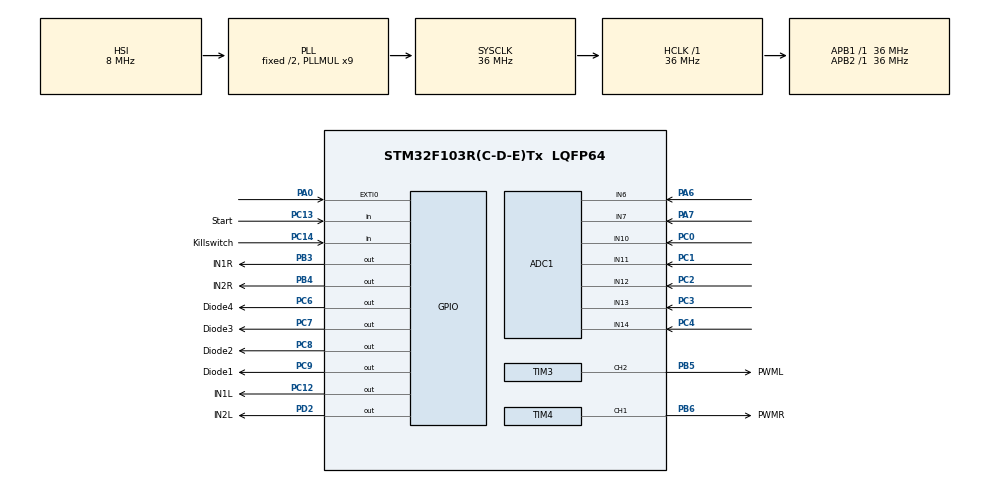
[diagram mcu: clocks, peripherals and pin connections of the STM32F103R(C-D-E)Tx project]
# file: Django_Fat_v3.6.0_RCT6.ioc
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ADC1.Channel-38\#ChannelRegularConversion=ADC_CHANNEL_14
ADC1.Channel-39\#ChannelRegularConversion=ADC_CHANNEL_10
ADC1.Channel-40\#ChannelRegularConversion=ADC_CHANNEL_11
ADC1.Channel-41\#ChannelRegularConversion=ADC_CHANNEL_12
ADC1.Channel-42\#ChannelRegularConversion=ADC_CHANNEL_13
ADC1.Channel-43\#ChannelRegularConversion=ADC_CHANNEL_6
ADC1.Channel-44\#ChannelRegularConversion=ADC_CHANNEL_7
ADC1.ContinuousConvMode=ENABLE
ADC1.NbrOfConversion=7
ADC1.NbrOfConversionFlag=1
ADC1.Rank-38\#ChannelRegularConversion=1
ADC1.Rank-39\#ChannelRegularConversion=2
ADC1.Rank-40\#ChannelRegularConversion=3
ADC1.Rank-41\#ChannelRegularConversion=4
ADC1.Rank-42\#ChannelRegularConversion=5
ADC1.Rank-43\#ChannelRegularConversion=6
ADC1.Rank-44\#ChannelRegularConversion=7
ADC1.SamplingTime-38\#ChannelRegularConversion=ADC_SAMPLETIME_1CYCLE_5
ADC1.SamplingTime-39\#ChannelRegularConversion=ADC_SAMPLETIME_1CYCLE_5
ADC1.SamplingTime-40\#ChannelRegularConversion=ADC_SAMPLETIME_1CYCLE_5
ADC1.SamplingTime-41\#ChannelRegularConversion=ADC_SAMPLETIME_1CYCLE_5
ADC1.SamplingTime-42\#ChannelRegularConversion=ADC_SAMPLETIME_1CYCLE_5
ADC1.SamplingTime-43\#ChannelRegularConversion=ADC_SAMPLETIME_1CYCLE_5
ADC1.SamplingTime-44\#ChannelRegularConversion=ADC_SAMPLETIME_1CYCLE_5
ADC1.master=1
Dma.ADC1.2.Direction=DMA_PERIPH_TO_MEMORY
Dma.ADC1.2.Instance=DMA1_Channel1
Dma.ADC1.2.MemDataAlignment=DMA_MDATAALIGN_WORD
Dma.ADC1.2.MemInc=DMA_MINC_ENABLE
Dma.ADC1.2.Mode=DMA_CIRCULAR
Dma.ADC1.2.PeriphDataAlignment=DMA_PDATAALIGN_HALFWORD
Dma.ADC1.2.PeriphInc=DMA_PINC_DISABLE
Dma.ADC1.2.Priority=DMA_PRIORITY_LOW
Dma.Request0=TIM3_CH4/UP
Dma.Request1=TIM4_UP
Dma.Request2=ADC1
Dma.TIM3_CH4/UP.0.Direction=DMA_PERIPH_TO_MEMORY
Dma.TIM3_CH4/UP.0.Instance=DMA1_Channel3
Dma.TIM3_CH4/UP.0.MemDataAlignment=DMA_MDATAALIGN_HALFWORD
Dma.TIM3_CH4/UP.0.MemInc=DMA_MINC_ENABLE
Dma.TIM3_CH4/UP.0.Mode=DMA_NORMAL
Dma.TIM3_CH4/UP.0.PeriphDataAlignment=DMA_PDATAALIGN_HALFWORD
Dma.TIM3_CH4/UP.0.PeriphInc=DMA_PINC_DISABLE
Dma.TIM3_CH4/UP.0.Priority=DMA_PRIORITY_LOW
Dma.TIM4_UP.1.Direction=DMA_PERIPH_TO_MEMORY
Dma.TIM4_UP.1.Instance=DMA1_Channel7
Dma.TIM4_UP.1.MemDataAlignment=DMA_MDATAALIGN_HALFWORD
Dma.TIM4_UP.1.MemInc=DMA_MINC_ENABLE
Dma.TIM4_UP.1.Mode=DMA_NORMAL
Dma.TIM4_UP.1.PeriphDataAlignment=DMA_PDATAALIGN_HALFWORD
Dma.TIM4_UP.1.PeriphInc=DMA_PINC_DISABLE
Dma.TIM4_UP.1.Priority=DMA_PRIORITY_LOW
Mcu.Family=STM32F1
Mcu.Name=STM32F103R(C-D-E)Tx
Mcu.Package=LQFP64
NVIC.ADC1_2_IRQn=true\:0\:0\:false
NVIC.DMA1_Channel1_IRQn=true\:0\:0\:false
NVIC.DMA1_Channel3_IRQn=true\:0\:0\:false
NVIC.DMA1_Channel7_IRQn=true\:0\:0\:false
NVIC.EXTI0_IRQn=true\:0\:0\:false
NVIC.PriorityGroup=NVIC_PRIORITYGROUP_4
NVIC.TIM1_BRK_IRQn=true\:0\:0\:false
NVIC.TIM1_CC_IRQn=true\:0\:0\:false
NVIC.TIM1_TRG_COM_IRQn=true\:0\:0\:false
NVIC.TIM1_UP_IRQn=true\:0\:0\:false
PA0-WKUP.Signal=GPXTI0
PA13.Mode=Serial_Wire
PA13.Signal=SYS_JTMS-SWDIO
PA14.Mode=Serial_Wire
PA14.Signal=SYS_JTCK-SWCLK
PA6.Signal=ADCx_IN6
PA7.Signal=ADCx_IN7
PB3.GPIO_Label=IN1R
PB3.Signal=GPIO_Output
PB4.GPIO_Label=IN2R
PB4.Signal=GPIO_Output
PB5.GPIO_Label=PWML
PB5.GPIO_ModeDefaultPP=GPIO_MODE_AF_PP
PB5.Signal=S_TIM3_CH2
PB6.GPIO_Label=PWMR
PB6.Signal=S_TIM4_CH1
PC0.Signal=ADCx_IN10
PC1.Signal=ADCx_IN11
PC12.GPIO_Label=IN1L
PC12.Signal=GPIO_Output
PC13-TAMPER-RTC.GPIO_Label=Start
PC13-TAMPER-RTC.Signal=GPIO_Input
PC14-OSC32_IN.GPIO_Label=Killswitch
PC14-OSC32_IN.Signal=GPIO_Input
PC2.Signal=ADCx_IN12
PC3.Signal=ADCx_IN13
PC4.Signal=ADCx_IN14
PC6.GPIO_Label=Diode4
PC6.Signal=GPIO_Output
PC7.GPIO_Label=Diode3
PC7.Signal=GPIO_Output
PC8.GPIO_Label=Diode2
PC8.Signal=GPIO_Output
PC9.GPIO_Label=Diode1
PC9.Signal=GPIO_Output
PD2.GPIO_Label=IN2L
PD2.Signal=GPIO_Output
ProjectManager.TargetToolchain=SW4STM32
RCC.ADCPresc=RCC_ADCPCLK2_DIV4
RCC.AHBFreq_Value=36000000
RCC.APB1Freq_Value=36000000
RCC.APB1TimFreq_Value=36000000
RCC.APB2Freq_Value=36000000
RCC.APB2TimFreq_Value=36000000
RCC.HCLKFreq_Value=36000000
RCC.PLLMUL=RCC_PLL_MUL9
RCC.SYSCLKFreq_VALUE=36000000
RCC.SYSCLKSource=RCC_SYSCLKSOURCE_PLLCLK
RCC.USBFreq_Value=36000000
SH.ADCx_IN10.0=ADC1_IN10,IN10
SH.ADCx_IN11.0=ADC1_IN11,IN11
SH.ADCx_IN12.0=ADC1_IN12,IN12
SH.ADCx_IN13.0=ADC1_IN13,IN13
SH.ADCx_IN14.0=ADC1_IN14,IN14
SH.ADCx_IN6.0=ADC1_IN6,IN6
SH.ADCx_IN7.0=ADC1_IN7,IN7
SH.S_TIM3_CH2.0=TIM3_CH2,PWM Generation2 CH2
SH.S_TIM4_CH1.0=TIM4_CH1,PWM Generation1 CH1
TIM1.Period=2499
TIM1.Prescaler=3599
TIM3.Channel-PWM\ Generation2\ CH2=TIM_CHANNEL_2
TIM3.Period=99
TIM3.Prescaler=359
TIM4.Period=99
TIM4.Prescaler=359
VP_TIM1_VS_ClockSourceINT.Mode=Internal
board=custom

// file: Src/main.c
/**
  ******************************************************************************
  * File Name          : main.c
  * Description        : Main program body
  ******************************************************************************
  *
  * COPYRIGHT(c) 2016 STMicroelectronics
  *
  * Redistribution and use in source and binary forms, with or without modification,
  * are permitted provided that the following conditions are met:
  *   1. Redistributions of source code must retain the above copyright notice,
  *      this list of conditions and the following disclaimer.
  *   2. Redistributions in binary form must reproduce the above copyright notice,
  *      this list of conditions and the following disclaimer in the documentation
  *      and/or other materials provided with the distribution.
  *   3. Neither the name of STMicroelectronics nor the names of its contributors
  *      may be used to endorse or promote products derived from this software
  *      without specific prior written permission.
  *
  * THIS SOFTWARE IS PROVIDED BY THE COPYRIGHT HOLDERS AND CONTRIBUTORS "AS IS"
  * AND ANY EXPRESS OR IMPLIED WARRANTIES, INCLUDING, BUT NOT LIMITED TO, THE
  * IMPLIED WARRANTIES OF MERCHANTABILITY AND FITNESS FOR A PARTICULAR PURPOSE ARE
  * DISCLAIMED. IN NO EVENT SHALL THE COPYRIGHT HOLDER OR CONTRIBUTORS BE LIABLE
  * FOR ANY DIRECT, INDIRECT, INCIDENTAL, SPECIAL, EXEMPLARY, OR CONSEQUENTIAL
  * DAMAGES (INCLUDING, BUT NOT LIMITED TO, PROCUREMENT OF SUBSTITUTE GOODS OR
  * SERVICES; LOSS OF USE, DATA, OR PROFITS; OR BUSINESS INTERRUPTION) HOWEVER
  * CAUSED AND ON ANY THEORY OF LIABILITY, WHETHER IN CONTRACT, STRICT LIABILITY,
  * OR TORT (INCLUDING NEGLIGENCE OR OTHERWISE) ARISING IN ANY WAY OUT OF THE USE
  * OF THIS SOFTWARE, EVEN IF ADVISED OF THE POSSIBILITY OF SUCH DAMAGE.
  *
  ******************************************************************************
  */
#include "stm32f1xx_hal.h"

/* USER CODE BEGIN Includes */
#define START_DELAY 5000
#define KTIR_THRESHHOLD_FRONT 180
#define KTIR_THRESHHOLD_BACK 3800
#define KTIR_DELAY 200
#define SHARP_THRESHOLD 1000
#include <errno.h>
#include <math.h>
/* USER CODE END Includes */

ADC_HandleTypeDef hadc1;
DMA_HandleTypeDef hdma_adc1;

TIM_HandleTypeDef htim1;
TIM_HandleTypeDef htim3;
TIM_HandleTypeDef htim4;
DMA_HandleTypeDef hdma_tim3_ch4_up;
DMA_HandleTypeDef hdma_tim4_up;

/* USER CODE BEGIN PV */
/* Private variables ---------------------------------------------------------*/
uint16_t GPIO_Pin_tab[4]={GPIO_PIN_7,GPIO_PIN_9,GPIO_PIN_8,GPIO_PIN_6};
int pwm_div=0;
int time_i=0;
uint32_t sensor[7]={0,0,0,0,0,0,0};
/* USER CODE END PV */

void SystemClock_Config(void);
static void MX_GPIO_Init(void);
static void MX_DMA_Init(void);
static void MX_ADC1_Init(void);
static void MX_TIM1_Init(void);
static void MX_TIM3_Init(void);
static void MX_TIM4_Init(void);

/* USER CODE BEGIN PFP */
/* Private function prototypes -----------------------------------------------*/
void Wait_Start();    //czekaj na sygnal start
void Kill_switch();   //Umrzyj
void Start_all();     //odpala adc i timery
void turn(int l_wheel, int r_wheel); //jedz/skrec
void seek(uint8_t dir); 	  //szukaj przeciwnika
uint8_t destroy();    //zniszcz
void escape();
void GPIO_Reset_State(); //wylacz diody
/* USER CODE END PFP */

int main(void)
{

	  /* MCU Configuration----------------------------------------------------------*/

	  /* Reset of all peripherals, Initializes the Flash interface and the Systick. */
	  HAL_Init();

	  /* Configure the system clock */
	  SystemClock_Config();

	  /* Initialize all configured peripherals */
	  MX_GPIO_Init();
	  MX_DMA_Init();
	  MX_ADC1_Init();
	  MX_TIM1_Init();
	  MX_TIM3_Init();
	  MX_TIM4_Init();

	  /* USER CODE BEGIN 2 */
	  Start_all();
	  Wait_Start();

	  uint8_t direction=0;
	  /* USER CODE END 2 */

	  /* Infinite loop */
	  /* USER CODE BEGIN WHILE */
	  while (1)
	  {
		  seek(direction);
		  direction=destroy();
	  /* USER CODE END WHILE */

	  }

}

/** System Clock Configuration
*/
void SystemClock_Config(void)
{

  RCC_OscInitTypeDef RCC_OscInitStruct;
  RCC_ClkInitTypeDef RCC_ClkInitStruct;
  RCC_PeriphCLKInitTypeDef PeriphClkInit;

  RCC_OscInitStruct.OscillatorType = RCC_OSCILLATORTYPE_HSI;
  RCC_OscInitStruct.HSIState = RCC_HSI_ON;
  RCC_OscInitStruct.HSICalibrationValue = 16;
  RCC_OscInitStruct.PLL.PLLState = RCC_PLL_ON;
  RCC_OscInitStruct.PLL.PLLSource = RCC_PLLSOURCE_HSI_DIV2;
  RCC_OscInitStruct.PLL.PLLMUL = RCC_PLL_MUL9;
  HAL_RCC_OscConfig(&RCC_OscInitStruct);

  RCC_ClkInitStruct.ClockType = RCC_CLOCKTYPE_SYSCLK;
  RCC_ClkInitStruct.SYSCLKSource = RCC_SYSCLKSOURCE_PLLCLK;
  RCC_ClkInitStruct.AHBCLKDivider = RCC_SYSCLK_DIV1;
  RCC_ClkInitStruct.APB1CLKDivider = RCC_HCLK_DIV1;
  RCC_ClkInitStruct.APB2CLKDivider = RCC_HCLK_DIV1;
  HAL_RCC_ClockConfig(&RCC_ClkInitStruct, FLASH_LATENCY_1);

  PeriphClkInit.PeriphClockSelection = RCC_PERIPHCLK_ADC;
  PeriphClkInit.AdcClockSelection = RCC_ADCPCLK2_DIV4;
  HAL_RCCEx_PeriphCLKConfig(&PeriphClkInit);

  HAL_SYSTICK_Config(HAL_RCC_GetHCLKFreq()/1000);

  HAL_SYSTICK_CLKSourceConfig(SYSTICK_CLKSOURCE_HCLK);

  /* SysTick_IRQn interrupt configuration */
  HAL_NVIC_SetPriority(SysTick_IRQn, 0, 0);
}

/* ADC1 init function */
void MX_ADC1_Init(void)
{

  ADC_ChannelConfTypeDef sConfig;

    /**Common config
    */
  hadc1.Instance = ADC1;
  hadc1.Init.ScanConvMode = ADC_SCAN_ENABLE;
  hadc1.Init.ContinuousConvMode = ENABLE;
  hadc1.Init.DiscontinuousConvMode = DISABLE;
  hadc1.Init.ExternalTrigConv = ADC_SOFTWARE_START;
  hadc1.Init.DataAlign = ADC_DATAALIGN_RIGHT;
  hadc1.Init.NbrOfConversion = 7;
  HAL_ADC_Init(&hadc1);

    /**Configure Regular Channel
    */
  sConfig.Channel = ADC_CHANNEL_14;
  sConfig.Rank = 1;
  sConfig.SamplingTime = ADC_SAMPLETIME_1CYCLE_5;
  HAL_ADC_ConfigChannel(&hadc1, &sConfig);

    /**Configure Regular Channel
    */
  sConfig.Channel = ADC_CHANNEL_10;
  sConfig.Rank = 2;
  HAL_ADC_ConfigChannel(&hadc1, &sConfig);

    /**Configure Regular Channel
    */
  sConfig.Channel = ADC_CHANNEL_11;
  sConfig.Rank = 3;
  HAL_ADC_ConfigChannel(&hadc1, &sConfig);

    /**Configure Regular Channel
    */
  sConfig.Channel = ADC_CHANNEL_12;
  sConfig.Rank = 4;
  HAL_ADC_ConfigChannel(&hadc1, &sConfig);

    /**Configure Regular Channel
    */
  sConfig.Channel = ADC_CHANNEL_13;
  sConfig.Rank = 5;
  HAL_ADC_ConfigChannel(&hadc1, &sConfig);

    /**Configure Regular Channel
    */
  sConfig.Channel = ADC_CHANNEL_6;
  sConfig.Rank = 6;
  HAL_ADC_ConfigChannel(&hadc1, &sConfig);

    /**Configure Regular Channel
    */
  sConfig.Channel = ADC_CHANNEL_7;
  sConfig.Rank = 7;
  HAL_ADC_ConfigChannel(&hadc1, &sConfig);

}

/* TIM1 init function */
void MX_TIM1_Init(void)
{

  TIM_ClockConfigTypeDef sClockSourceConfig;
  TIM_MasterConfigTypeDef sMasterConfig;

  htim1.Instance = TIM1;
  htim1.Init.Prescaler = 3599;
  htim1.Init.CounterMode = TIM_COUNTERMODE_UP;
  htim1.Init.Period = 2499;
  htim1.Init.ClockDivision = TIM_CLOCKDIVISION_DIV1;
  htim1.Init.RepetitionCounter = 0;
  HAL_TIM_Base_Init(&htim1);

  sClockSourceConfig.ClockSource = TIM_CLOCKSOURCE_INTERNAL;
  HAL_TIM_ConfigClockSource(&htim1, &sClockSourceConfig);

  sMasterConfig.MasterOutputTrigger = TIM_TRGO_RESET;
  sMasterConfig.MasterSlaveMode = TIM_MASTERSLAVEMODE_DISABLE;
  HAL_TIMEx_MasterConfigSynchronization(&htim1, &sMasterConfig);

}

/* TIM3 init function */
void MX_TIM3_Init(void)
{

  TIM_MasterConfigTypeDef sMasterConfig;
  TIM_OC_InitTypeDef sConfigOC;

  htim3.Instance = TIM3;
  htim3.Init.Prescaler = 359;
  htim3.Init.CounterMode = TIM_COUNTERMODE_UP;
  htim3.Init.Period = 99;
  htim3.Init.ClockDivision = TIM_CLOCKDIVISION_DIV1;
  HAL_TIM_PWM_Init(&htim3);

  sMasterConfig.MasterOutputTrigger = TIM_TRGO_RESET;
  sMasterConfig.MasterSlaveMode = TIM_MASTERSLAVEMODE_DISABLE;
  HAL_TIMEx_MasterConfigSynchronization(&htim3, &sMasterConfig);

  sConfigOC.OCMode = TIM_OCMODE_PWM1;
  sConfigOC.Pulse = 0;
  sConfigOC.OCPolarity = TIM_OCPOLARITY_HIGH;
  sConfigOC.OCFastMode = TIM_OCFAST_DISABLE;
  HAL_TIM_PWM_ConfigChannel(&htim3, &sConfigOC, TIM_CHANNEL_2);

}

/* TIM4 init function */
void MX_TIM4_Init(void)
{

  TIM_MasterConfigTypeDef sMasterConfig;
  TIM_OC_InitTypeDef sConfigOC;

  htim4.Instance = TIM4;
  htim4.Init.Prescaler = 359;
  htim4.Init.CounterMode = TIM_COUNTERMODE_UP;
  htim4.Init.Period = 99;
  htim4.Init.ClockDivision = TIM_CLOCKDIVISION_DIV1;
  HAL_TIM_PWM_Init(&htim4);

  sMasterConfig.MasterOutputTrigger = TIM_TRGO_RESET;
  sMasterConfig.MasterSlaveMode = TIM_MASTERSLAVEMODE_DISABLE;
  HAL_TIMEx_MasterConfigSynchronization(&htim4, &sMasterConfig);

  sConfigOC.OCMode = TIM_OCMODE_PWM1;
  sConfigOC.Pulse = 0;
  sConfigOC.OCPolarity = TIM_OCPOLARITY_HIGH;
  sConfigOC.OCFastMode = TIM_OCFAST_DISABLE;
  HAL_TIM_PWM_ConfigChannel(&htim4, &sConfigOC, TIM_CHANNEL_1);

}

void MX_DMA_Init(void)
{
  /* DMA controller clock enable */
  __HAL_RCC_DMA1_CLK_ENABLE();

  /* DMA interrupt init */
  HAL_NVIC_SetPriority(DMA1_Channel1_IRQn, 0, 0);
  HAL_NVIC_EnableIRQ(DMA1_Channel1_IRQn);
  HAL_NVIC_SetPriority(DMA1_Channel3_IRQn, 0, 0);
  HAL_NVIC_EnableIRQ(DMA1_Channel3_IRQn);
  HAL_NVIC_SetPriority(DMA1_Channel7_IRQn, 0, 0);
  HAL_NVIC_EnableIRQ(DMA1_Channel7_IRQn);

}

/** Configure pins as
        * Analog
        * Input
        * Output
        * EVENT_OUT
        * EXTI
*/
void MX_GPIO_Init(void)
{

  GPIO_InitTypeDef GPIO_InitStruct;

  /* GPIO Ports Clock Enable */
  __GPIOC_CLK_ENABLE();
  __GPIOA_CLK_ENABLE();
  __GPIOD_CLK_ENABLE();
  __GPIOB_CLK_ENABLE();

  /*Configure GPIO pins : Start_Pin Killswitch_Pin */
  GPIO_InitStruct.Pin = Start_Pin|Killswitch_Pin;
  GPIO_InitStruct.Mode = GPIO_MODE_INPUT;
  GPIO_InitStruct.Pull = GPIO_NOPULL;
  HAL_GPIO_Init(GPIOC, &GPIO_InitStruct);

  /*Configure GPIO pin : PA0 */
  GPIO_InitStruct.Pin = GPIO_PIN_0;
  GPIO_InitStruct.Mode = GPIO_MODE_IT_RISING;
  GPIO_InitStruct.Pull = GPIO_NOPULL;
  HAL_GPIO_Init(GPIOA, &GPIO_InitStruct);

  /*Configure GPIO pins : Diode4_Pin Diode3_Pin Diode2_Pin Diode1_Pin
                           IN1L_Pin */
  GPIO_InitStruct.Pin = Diode4_Pin|Diode3_Pin|Diode2_Pin|Diode1_Pin
                          |IN1L_Pin;
  GPIO_InitStruct.Mode = GPIO_MODE_OUTPUT_PP;
  GPIO_InitStruct.Speed = GPIO_SPEED_LOW;
  HAL_GPIO_Init(GPIOC, &GPIO_InitStruct);

  /*Configure GPIO pin : IN2L_Pin */
  GPIO_InitStruct.Pin = IN2L_Pin;
  GPIO_InitStruct.Mode = GPIO_MODE_OUTPUT_PP;
  GPIO_InitStruct.Speed = GPIO_SPEED_LOW;
  HAL_GPIO_Init(IN2L_GPIO_Port, &GPIO_InitStruct);

  /*Configure GPIO pins : IN1R_Pin IN2R_Pin */
  GPIO_InitStruct.Pin = IN1R_Pin|IN2R_Pin;
  GPIO_InitStruct.Mode = GPIO_MODE_OUTPUT_PP;
  GPIO_InitStruct.Speed = GPIO_SPEED_LOW;
  HAL_GPIO_Init(GPIOB, &GPIO_InitStruct);

  /* EXTI interrupt init*/
  HAL_NVIC_SetPriority(EXTI0_IRQn, 0, 0);
  HAL_NVIC_EnableIRQ(EXTI0_IRQn);

}

/* USER CODE BEGIN 4 */
void GPIO_Reset_State()
{
	HAL_GPIO_WritePin(GPIOC,GPIO_PIN_6,GPIO_PIN_RESET);
	HAL_GPIO_WritePin(GPIOC,GPIO_PIN_7,GPIO_PIN_RESET);
	HAL_GPIO_WritePin(GPIOC,GPIO_PIN_8,GPIO_PIN_RESET);
	HAL_GPIO_WritePin(GPIOC,GPIO_PIN_9,GPIO_PIN_RESET);
}

void Wait_Start()
{
	if(!HAL_GPIO_ReadPin(GPIOC,GPIO_PIN_13))
	{
		HAL_GPIO_WritePin(GPIOC,GPIO_PIN_6,GPIO_PIN_SET);
		HAL_GPIO_WritePin(GPIOC,GPIO_PIN_7,GPIO_PIN_SET);
		HAL_GPIO_WritePin(GPIOC,GPIO_PIN_8,GPIO_PIN_SET);
		HAL_GPIO_WritePin(GPIOC,GPIO_PIN_9,GPIO_PIN_SET);
	while(!HAL_GPIO_ReadPin(GPIOC,GPIO_PIN_13)) {}
	GPIO_Reset_State();
	}
	HAL_TIM_Base_Start_IT(&htim1);
	HAL_Delay(START_DELAY);
	HAL_TIM_Base_Stop_IT(&htim1);

}

void Kill_switch()
{/*
	if(!HAL_GPIO_ReadPin(GPIOC,GPIO_PIN_14) && !HAL_GPIO_ReadPin(GPIOC,GPIO_PIN_13))
	{
		turn(0,0);
		GPIO_Reset_State();
		HAL_GPIO_WritePin(GPIOC,GPIO_PIN_6,GPIO_PIN_SET);
		HAL_GPIO_WritePin(GPIOC,GPIO_PIN_7,GPIO_PIN_SET);
		HAL_GPIO_WritePin(GPIOC,GPIO_PIN_8,GPIO_PIN_SET);
		HAL_GPIO_WritePin(GPIOC,GPIO_PIN_9,GPIO_PIN_SET);
	}
	while(!HAL_GPIO_ReadPin(GPIOC,GPIO_PIN_14) && !HAL_GPIO_ReadPin(GPIOC,GPIO_PIN_13)) {}
*/
}

void Start_all()
{
	HAL_ADC_Start_DMA(&hadc1,sensor, 7);
	HAL_TIM_PWM_Start(&htim3, TIM_CHANNEL_2); //generacja PWM
	HAL_TIM_PWM_Start(&htim4, TIM_CHANNEL_1); //generacja PWM
}

void turn(int l_wheel, int r_wheel)
{
	if(l_wheel>=0) //CCW
	{
		TIM3->CCR2 = l_wheel/pwm_div;
		HAL_GPIO_WritePin(GPIOC,GPIO_PIN_12,GPIO_PIN_RESET); //IN1L
		HAL_GPIO_WritePin(GPIOD,GPIO_PIN_2,GPIO_PIN_SET); //IN2L
	}
	if(l_wheel<0) //CW
	{
		TIM3->CCR2 = -l_wheel/pwm_div;
		HAL_GPIO_WritePin(GPIOC,GPIO_PIN_12,GPIO_PIN_SET); //IN1L
		HAL_GPIO_WritePin(GPIOD,GPIO_PIN_2,GPIO_PIN_RESET);    //IN2L
	}
	if(r_wheel>=0) //CW
	{
		TIM4->CCR1 = r_wheel/pwm_div;
		HAL_GPIO_WritePin(GPIOB,GPIO_PIN_3,GPIO_PIN_SET);  //IN1R
		HAL_GPIO_WritePin(GPIOB,GPIO_PIN_4,GPIO_PIN_RESET); //IN2R
	}
	if(r_wheel<0) //CCW
	{
		TIM4->CCR1 = -r_wheel/pwm_div;
		HAL_GPIO_WritePin(GPIOB,GPIO_PIN_3,GPIO_PIN_RESET); //IN1R
		HAL_GPIO_WritePin(GPIOB,GPIO_PIN_4,GPIO_PIN_SET);  //IN2R
	}
}

void seek(uint8_t dir)
{
	Kill_switch();
	escape();
	if(sensor[0] < SHARP_THRESHOLD && sensor[5] < SHARP_THRESHOLD+350 && sensor[6] < SHARP_THRESHOLD)
	{
		int left=pow(-1,1-dir);
		int right=pow(-1,dir);
		turn(left*50 ,right*50 );
		GPIO_Reset_State();
		HAL_GPIO_WritePin(GPIOC,GPIO_PIN_6,GPIO_PIN_SET); //odpal lewa
		HAL_GPIO_WritePin(GPIOC,GPIO_PIN_9,GPIO_PIN_SET); //odpal prawa
		while(sensor[0] < SHARP_THRESHOLD &&
				sensor[5] < SHARP_THRESHOLD+350 &&
					sensor[6] < SHARP_THRESHOLD)
		{
			Kill_switch();
			escape();
		}
	}
}

uint8_t destroy()
{
	Kill_switch();
	escape();
	uint8_t StateS0= sensor[0]>=SHARP_THRESHOLD;
	uint8_t StateS5= sensor[5]>=SHARP_THRESHOLD+350;
	uint8_t StateS6= sensor[6]>=SHARP_THRESHOLD;
	uint8_t memo=0;
	while(StateS0 || StateS5 || StateS6)
	{
		Kill_switch();
		escape();
		memo=StateS6 < StateS5;
		StateS0= sensor[0]>=SHARP_THRESHOLD;
		StateS5= sensor[5]>=SHARP_THRESHOLD+350;
		StateS6= sensor[6]>=SHARP_THRESHOLD;
		turn(30*StateS0 + 70*StateS5, 30*StateS0 + 70*StateS6);
		GPIO_Reset_State();
		HAL_GPIO_WritePin(GPIOC,GPIO_PIN_7,StateS0);
		HAL_GPIO_WritePin(GPIOC,GPIO_PIN_6,StateS6);
		HAL_GPIO_WritePin(GPIOC,GPIO_PIN_9,StateS5);
	}
	return memo;
}

void escape()
{
	if(sensor[1] <= KTIR_THRESHHOLD_FRONT || sensor[3] <= KTIR_THRESHHOLD_FRONT)
	{
		Kill_switch();
		turn(-100 , -100 );
		GPIO_Reset_State();
		HAL_GPIO_WritePin(GPIOC,GPIO_PIN_8,GPIO_PIN_SET); //odpal tyl
		HAL_Delay(KTIR_DELAY);
/*	while(sensor[1] <= KTIR_THRESHHOLD_FRONT || sensor[3] <= KTIR_THRESHHOLD_FRONT)
	{
		Kill_switch();
	}*/
		turn(-50 , 50 );
		GPIO_Reset_State();
		HAL_GPIO_WritePin(GPIOC,GPIO_PIN_6,GPIO_PIN_SET); //odpal lewa
		HAL_GPIO_WritePin(GPIOC,GPIO_PIN_9,GPIO_PIN_SET); //odpal prawa
	}

	if(sensor[2] <= KTIR_THRESHHOLD_BACK || sensor[4] <= KTIR_THRESHHOLD_BACK)
	{
		Kill_switch();
		turn(100 , 100 );
		GPIO_Reset_State();
		HAL_GPIO_WritePin(GPIOC,GPIO_PIN_8,GPIO_PIN_SET); //odpal tyl
		HAL_Delay(KTIR_DELAY);
/*	while(sensor[2] <= KTIR_THRESHHOLD_BACK || sensor[4] <= KTIR_THRESHHOLD_BACK)
	{
		Kill_switch();
	}*/
		turn(-50 , 50 );
		GPIO_Reset_State();
		HAL_GPIO_WritePin(GPIOC,GPIO_PIN_6,GPIO_PIN_SET); //odpal lewa
		HAL_GPIO_WritePin(GPIOC,GPIO_PIN_9,GPIO_PIN_SET); //odpal prawa
	}
	//seek(0);
}

void HAL_GPIO_EXTI_Callback(uint16_t GPIO_Pin)
{
	if(GPIO_Pin == GPIO_PIN_0) // Sprawdzenie czy przerwanie zostalo wywolane przez pin 0
		{
			pwm_div++;
			pwm_div%=5;
		}
}

void HAL_TIM_PeriodElapsedCallback(TIM_HandleTypeDef *htim)
{
	if(htim==&htim1) // Sprawdzenie, czy przerwanie zostalo wywolane przez timer 1
	{
		HAL_GPIO_TogglePin(GPIOC, GPIO_Pin_tab[time_i]); // Zmien stan na Porcie C
		time_i++; time_i%=4;
	}
}
/* USER CODE END 4 */

/************************ (C) COPYRIGHT STMicroelectronics *****END OF FILE****/
